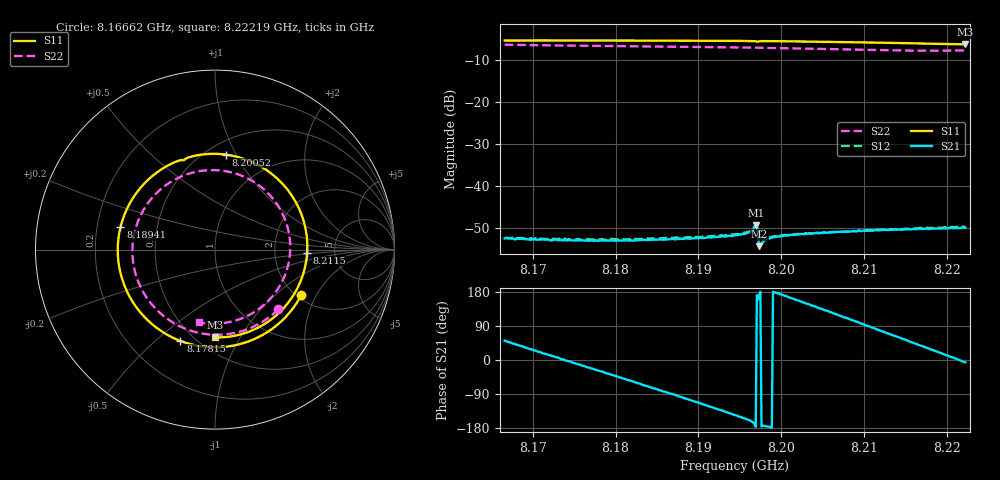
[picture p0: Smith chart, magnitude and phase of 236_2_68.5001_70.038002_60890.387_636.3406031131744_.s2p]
#  HZ  S  RI  R  50.00
! Rohde & Schwarz Vector Network Analyzer
! Rohde-Schwarz,ZNB20-2Port,1311601062101988,3.16
! Created: UTC 3/20/2024, 4:59:09 PM
! freq[Hz]  re:S11  im:S11  re:S21  im:S21  re:S12  im:S12  re:S22  im:S22
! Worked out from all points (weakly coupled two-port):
!   401 points, 8.16662 GHz to 8.22219 GHz, reference 50 ohm
!   highest |S21| = -49.33 dB at 8.19691 GHz (marker M1); lowest = -54.3 dB at 8.19733 GHz (marker M2)
!   lowest |S11| = -6.2 dB at 8.22219 GHz (marker M3), VSWR 2.92, Z = 30.6 - j39.4 ohm
!   |S11| at or under -10 dB: nowhere
!   |S22| runs from -7.7 to -6.3 dB; largest |S21 - S12| = 0.00021
!   S11 on the Smith chart (normalised r, x): 8.16662 GHz: 2.10, -1.52; 8.17815 GHz: 0.42, -0.60; 8.18941 GHz: 0.30, +0.11; 8.20052 GHz: 0.62, +0.91; 8.2115 GHz: 3.10, -0.14; 8.22219 GHz: 0.61, -0.79
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8.166621e9  0.4793 -0.2554  0.00149 0.00186  0.00151 0.00188  0.3529 -0.3319
8.171623e9  0.2409 -0.4882  0.00223 0.000626  0.00224 0.000642  0.0999 -0.4665
8.17593e9  -0.0446 -0.5426  0.00218 -0.000559  0.00222 -0.000559  -0.1431 -0.4492
8.178153e9  -0.1931 -0.5087  0.00197 -0.00113  0.002 -0.00118  -0.2555 -0.3931
8.181904e9  -0.4045 -0.363  0.00128 -0.00186  0.00129 -0.002  -0.3978 -0.2402
8.185238e9  -0.5177 -0.1626  0.000441 -0.00227  0.000407 -0.00236  -0.4568 -0.0653
8.189406e9  -0.5266 0.1249  -0.000761 -0.00225  -0.000858 -0.00231  -0.4272 0.1622
8.191907e9  -0.4582 0.2856  -0.00149 -0.00198  -0.0016 -0.00201  -0.3565 0.2811
8.194407e9  -0.3414 0.4162  -0.00213 -0.00147  -0.00224 -0.00145  -0.2522 0.3732
8.196908e9  -0.1835 0.499  -0.00341 -0.000223  -0.00348 -0.000126  -0.1239 0.4291
8.197325e9  -0.165 0.5054  -0.0019 0.000307  -0.00194 0.000407  -0.1014 0.4344
8.197603e9  -0.1457 0.5142  -0.00202 -0.000158  -0.00209 -0.00012  -0.0859 0.4371
8.198575e9  -0.0768 0.5291  -0.00238 -0.000152  -0.00244 -2.03e-05  -0.0311 0.4427
8.20052e9  0.0608 0.529  -0.00254 0.000468  -0.00253 0.000619  0.0789 0.433
8.203716e9  0.2719 0.4529  -0.0022 0.00162  -0.00215 0.0017  0.2451 0.358
8.207745e9  0.4611 0.243  -0.00109 0.00268  -0.00101 0.00269  0.3882 0.173
8.211496e9  0.5133 -0.0167  0.000427 0.00297  0.000533 0.00295  0.4146 -0.0494
8.213024e9  0.4947 -0.1247  0.00109 0.0028  0.00118 0.00281  0.3905 -0.1405
8.215386e9  0.4215 -0.2774  0.00199 0.00233  0.00205 0.00233  0.3141 -0.2668
8.218026e9  0.2847 -0.4089  0.00276 0.00148  0.00286 0.00142  0.1802 -0.3694
8.22011e9  0.1477 -0.471  0.0031 0.000602  0.00319 0.000526  0.0498 -0.4089
8.222194e9  -0.00151 -0.4892  0.00316 -0.000346  0.00322 -0.000462  -0.0887 -0.4053
